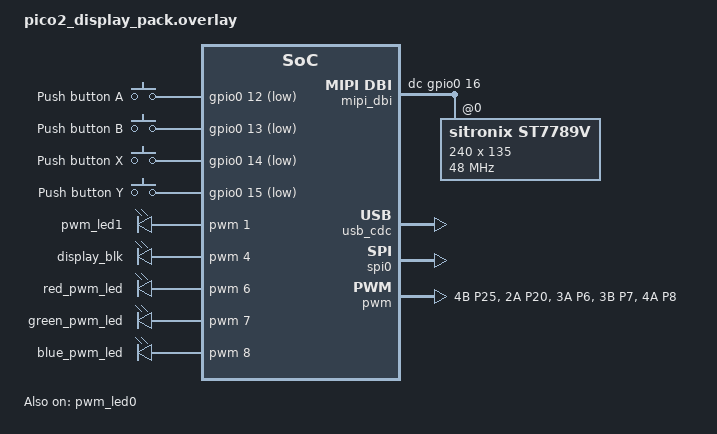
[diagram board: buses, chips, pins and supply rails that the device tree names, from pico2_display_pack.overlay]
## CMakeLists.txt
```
# SPDX-License-Identifier: Apache-2.0

cmake_minimum_required(VERSION 3.20.0)

string(REGEX MATCH "^[^/]+" BOARD_NAME "${BOARD}")
if(BOARD_NAME STREQUAL "rpi_pico2")
    message(STATUS "Compiling for RPI_PICO2")
elseif(BOARD_NAME STREQUAL "rpi_pico")
    message(STATUS "Compiling for RPI_PICO")
endif()

if(CONFIG_PICO_DISPLAY_PACK AND BOARD_NAME STREQUAL "rpi_pico")
  set(DTC_OVERLAY_FILE "boards/rpi_pico/pico_display_pack.overlay")
elseif(CONFIG_PICO_DISPLAY_PACK2 AND BOARD_NAME STREQUAL "rpi_pico")
  set(DTC_OVERLAY_FILE "boards/rpi_pico/pico_display_pack2.overlay")
elseif(CONFIG_PICO_DISPLAY_PACK AND BOARD_NAME STREQUAL "rpi_pico2")
  set(DTC_OVERLAY_FILE "boards/rpi_pico2/pico_display_pack.overlay")
elseif(CONFIG_PICO_DISPLAY_PACK2 AND BOARD_NAME STREQUAL "rpi_pico2")
  set(DTC_OVERLAY_FILE "boards/rpi_pico2/pico_display_pack2.overlay")
endif()

find_package(Zephyr REQUIRED HINTS $ENV{ZEPHYR_BASE})
project(zpsu-mon)

add_compile_definitions(LV_LVGL_H_INCLUDE_SIMPLE)

include_directories(
  ${PROJECT_SOURCE_DIR}/src
  ${PROJECT_SOURCE_DIR}/src/ui
  )

set(app_SRCS
  ${PROJECT_SOURCE_DIR}/src/led.c
  ${PROJECT_SOURCE_DIR}/src/ui/watchface_ui.c
  ${PROJECT_SOURCE_DIR}/src/ui/screens/ui_Screen1.c
  ${PROJECT_SOURCE_DIR}/src/ui/ui_helpers.c
  ${PROJECT_SOURCE_DIR}/src/ui/ui.c
  ${PROJECT_SOURCE_DIR}/src/ui/fonts/ui_font_DSEG7ClassicBold36.c
  ${PROJECT_SOURCE_DIR}/src/watchface_app.c
  ${PROJECT_SOURCE_DIR}/src/psu_ctrl.c
  ${PROJECT_SOURCE_DIR}/src/clock.c
  ${PROJECT_SOURCE_DIR}/src/notification_manager.c
  ${PROJECT_SOURCE_DIR}/src/main.c
  ${PROJECT_SOURCE_DIR}/src/display_control.c
  )

target_sources(app PRIVATE ${app_SRCS})

# add_subdirectory(src/ui)
```

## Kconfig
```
# Display drivers

# Copyright (c) 2017 Intel Corporation
# SPDX-License-Identifier: Apache-2.0

menu "Zephyr Kernel"
    source "Kconfig.zephyr"
endmenu

menu "ZSPSUMon"

    config PICO_DISPLAY_PACK
        bool
    prompt "Pico Display Pack"
    default n

    config PICO_DISPLAY_PACK2
        bool
    prompt "Pico Display Pack2"
    default n

endmenu
```

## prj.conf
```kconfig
# CONFIG_LV_Z_MEM_POOL_NUMBER_BLOCKS=8
CONFIG_MAIN_STACK_SIZE=2048
CONFIG_SYSTEM_WORKQUEUE_STACK_SIZE=10000
CONFIG_HEAP_MEM_POOL_SIZE=33000
CONFIG_CBPRINTF_FP_SUPPORT=y
CONFIG_DEBUG_THREAD_INFO=y

CONFIG_COMMON_LIBC_MALLOC_ARENA_SIZE=6144

CONFIG_ASSERT=y
CONFIG_REBOOT=y
# CONFIG_RESET_ON_FATAL_ERROR=y
CONFIG_DISPLAY=y
CONFIG_DISPLAY_LOG_LEVEL_ERR=y

CONFIG_I2C=y
CONFIG_SENSOR=y
CONFIG_ADC=y
CONFIG_BMI270=n
CONFIG_LIS2MDL=y
CONFIG_BME680=y

CONFIG_SENSOR_LOG_LEVEL_DBG=y

CONFIG_MAX30101=y
CONFIG_MAX30101_MULTI_LED_MODE=y
CONFIG_MAX30101_SLOT1=1
CONFIG_MAX30101_SLOT2=2
CONFIG_MAX30101_SLOT3=3
CONFIG_MAX30101_SLOT4=0

CONFIG_PINCTRL=y
CONFIG_PM_DEVICE=y

CONFIG_PWM=y

CONFIG_SPI=y
CONFIG_ST7789V=y
# CONFIG_ST7789V_RGB565=y
# CONFIG_GC9A01=y
# CONFIG_KSCAN_CST816S=y
# CONFIG_KSCAN_CST816S_INTERRUPT=y
# CONFIG_KSCAN=y
# CONFIG_LV_Z_POINTER_KSCAN=y
# CONFIG_LV_Z_POINTER_KSCAN_SWAP_XY=y
# CONFIG_LV_Z_POINTER_KSCAN_INVERT_X=y
CONFIG_REGULATOR=y
CONFIG_REGULATOR_FIXED=y

CONFIG_INPUT=y
CONFIG_INPUT_EVENT_DUMP=y

# LVGL configuration
CONFIG_LVGL=y
CONFIG_LV_Z_FLUSH_THREAD=y
CONFIG_LV_Z_FLUSH_THREAD_PRIORITY=0
CONFIG_LV_FONT_MONTSERRAT_8=y
CONFIG_LV_FONT_MONTSERRAT_10=y
CONFIG_LV_FONT_MONTSERRAT_12=y
CONFIG_LV_FONT_MONTSERRAT_14=y
CONFIG_LV_FONT_MONTSERRAT_16=y
CONFIG_LV_FONT_MONTSERRAT_18=y
CONFIG_LV_FONT_MONTSERRAT_20=y
CONFIG_LV_FONT_MONTSERRAT_28=y
CONFIG_LV_Z_POINTER_INPUT_MSGQ_COUNT=200
CONFIG_LV_Z_POINTER_INPUT=y

CONFIG_LV_CACHE_DEF_SIZE=10
CONFIG_LV_IMAGE_HEADER_CACHE_DEF_CNT=10
CONFIG_LV_USE_CUSTOM_SPRINTF=y
CONFIG_LV_Z_DOUBLE_VDB=y
CONFIG_LV_Z_VDB_SIZE=10
CONFIG_LV_DEF_REFR_PERIOD=30

CONFIG_LV_THEME_DEFAULT_DARK=y
CONFIG_LV_USE_THEME_DEFAULT=y

CONFIG_LV_COLOR_16_SWAP=y
CONFIG_LV_COLOR_DEPTH_16=y

# LVGL Size optimizations
CONFIG_LV_CONF_MINIMAL=y
CONFIG_LV_LABEL_TEXT_SELECTION=n
CONFIG_LV_LABEL_LONG_TXT_HINT=n
CONFIG_LV_USE_LOG=y
CONFIG_LV_USE_DROPDOWN=y
CONFIG_LV_USE_LINE=y
CONFIG_LV_USE_SLIDER=y
CONFIG_LV_USE_SWITCH=y
CONFIG_LV_USE_FLEX=y
CONFIG_LV_USE_ANIMIMG=y
CONFIG_LV_USE_CHART=y
CONFIG_LV_USE_LED=y
CONFIG_LV_USE_MENU=y
CONFIG_LV_USE_MSGBOX=y
CONFIG_LV_USE_SPINNER=y
CONFIG_LV_USE_TILEVIEW=y
CONFIG_LV_USE_GIF=y
CONFIG_LV_USE_LABEL=y
CONFIG_LV_USE_IMAGE=y
CONFIG_LV_USE_ARC=y
CONFIG_LV_USE_BUTTON=y
CONFIG_LV_USE_BUTTONMATRIX=y
CONFIG_LV_USE_IMAGEBUTTON=y
CONFIG_LV_USE_CHECKBOX=y
CONFIG_LV_USE_SCALE=y
CONFIG_LV_USE_ASSERT_NULL=y
CONFIG_LV_USE_ASSERT_MALLOC=y
CONFIG_LV_FONT_DEFAULT_MONTSERRAT_14=y
CONFIG_LV_WIDGETS_HAS_DEFAULT_VALUE=y
CONFIG_LV_TXT_ENC_UTF8=y

CONFIG_LV_DRAW_SW_SUPPORT_RGB565=y
CONFIG_LV_DRAW_SW_SUPPORT_RGB565A8=y
CONFIG_LV_DRAW_SW_SUPPORT_RGB888=n
CONFIG_LV_DRAW_SW_SUPPORT_XRGB8888=n
CONFIG_LV_DRAW_SW_SUPPORT_ARGB8888=n
CONFIG_LV_DRAW_SW_SUPPORT_L8=n
CONFIG_LV_DRAW_SW_SUPPORT_AL88=n
CONFIG_LV_DRAW_SW_SUPPORT_A8=n
CONFIG_LV_DRAW_SW_SUPPORT_I1=n

#
# Memory settings
#
CONFIG_LV_Z_MEM_POOL_SIZE=95000
# end of Memory settings

# NVS
CONFIG_FLASH=y
CONFIG_FLASH_MAP=y
CONFIG_MPU_ALLOW_FLASH_WRITE=y
CONFIG_FLASH_PAGE_LAYOUT=y

CONFIG_DISK_ACCESS=y

# Filesystem
CONFIG_FILE_SYSTEM=y
CONFIG_DISK_ACCESS=y
CONFIG_FAT_FILESYSTEM_ELM=y
CONFIG_FS_FATFS_LFN=y
CONFIG_FS_FATFS_MAX_LFN=255
CONFIG_FS_FATFS_CUSTOM_MOUNT_POINT_COUNT=2
CONFIG_SETTINGS=y
CONFIG_SETTINGS_FILE=y
CONFIG_SETTINGS_RUNTIME=y
CONFIG_SETTINGS_NVS=y
CONFIG_NVS=n

# Bluetooth
# CONFIG_BT=y
# CONFIG_BT_HCI=y
CONFIG_BT_CTLR=n
# Enable Direction Finding TX Feature including AoA and AoD
CONFIG_BT_DF=y
CONFIG_BT_DF_CONNECTIONLESS_CTE_TX=y
#CONFIG_BT_RX_STACK_SIZE=2048
# Enable chaining of multiple CTEs in periodic advertising
# CONFIG_BT_DEBUG_LOG=n
#CONFIG_BT_SMP=y
CONFIG_BT_PERIPHERAL=y
CONFIG_BT_DIS=y
CONFIG_BT_DIS_PNP=n
CONFIG_BT_BAS=n
CONFIG_BT_HRS=n
CONFIG_BT_DEVICE_NAME="Smart Watch"
CONFIG_BT_DEVICE_APPEARANCE=194
CONFIG_BT_KEYS_OVERWRITE_OLDEST=y
CONFIG_BT_SETTINGS=n
CONFIG_BT_MAX_PAIRED=1
CONFIG_BT_MAX_CONN=1

CONFIG_BT_GATT_CLIENT=y

CONFIG_BT_EXT_ADV=y
CONFIG_BT_PER_ADV=y

CONFIG_BT_BROADCASTER=y
CONFIG_BT_SMP_ALLOW_UNAUTH_OVERWRITE=y
#CONFIG_BT_CONN_PARAM_UPDATE_TIMEOUT=
CONFIG_BT_EXT_ADV_MAX_ADV_SET=2
CONFIG_BT_BUF_ACL_RX_SIZE=100
CONFIG_BT_BUF_ACL_TX_SIZE=100
CONFIG_BT_L2CAP_TX_MTU=96

 # Allows to do some basic UI tasks in BT callbacks.
CONFIG_BT_RX_STACK_SIZE=3000

# SEGGER RTT logging instead of UART
CONFIG_LOG_PRINTK=y
CONFIG_LOG=y
CONFIG_LOG_MODE_IMMEDIATE=y
CONFIG_DEBUG_OPTIMIZATIONS=y
CONFIG_USE_SEGGER_RTT=y
CONFIG_LOG_BACKEND_RTT=y
CONFIG_LOG_BACKEND_RTT_MODE_BLOCK=y
# End of SEGGER RTT

CONFIG_PICOLIBC=y
CONFIG_PICOLIBC_IO_FLOAT=y
CONFIG_POSIX_API=y

CONFIG_CLOCK_CONTROL_NRF_K32SRC_RC=y

CONFIG_PM=y

# Size optimizations
#CONFIG_SIZE_OPTIMIZATIONS=y
# CONFIG_THREAD_STACK_INFO=n
CONFIG_WATCHDOG=n
CONFIG_SERIAL=y
CONFIG_CONSOLE=y
CONFIG_PRINTK=y
CONFIG_USB_DEVICE_STACK=y
CONFIG_USB_DEVICE_INITIALIZE_AT_BOOT=y
CONFIG_USB_DEVICE_VID=0x2e8a
CONFIG_USB_DEVICE_PID=0x000a
CONFIG_USB_DEVICE_PRODUCT="Pico"
CONFIG_USB_DEVICE_MANUFACTURER="Raspberry Pi"
CONFIG_UART_INTERRUPT_DRIVEN=y
CONFIG_UART_LINE_CTRL=y

CONFIG_ZBUS=y
# CONFIG_ZBUS_RUNTIME_OBSERVERS_POOL_SIZE=2
CONFIG_ZBUS_LOG_LEVEL_INF=y
CONFIG_ZBUS_CHANNEL_NAME=y
CONFIG_ZBUS_OBSERVER_NAME=y

CONFIG_LED=y

# CONFIG_I2C_LOG_LEVEL_DBG=y

CONFIG_ENTROPY_GENERATOR=y
CONFIG_ENTROPY_DEVICE_RANDOM_GENERATOR=y
```

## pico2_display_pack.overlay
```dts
/*
 * Copyright (c) 2019 Creative Product Design
 *
 * SPDX-License-Identifier: Apache-2.0
 */
#include <zephyr/dt-bindings/pinctrl/rpi-pico-rp2350a-pinctrl.h>
#include <zephyr/dt-bindings/mipi_dbi/mipi_dbi.h>
#include <zephyr/dt-bindings/input/input-event-codes.h>
/ {
    chosen {
           zephyr,console = &usb_cdc;
	   zephyr,shell-uart = &usb_cdc;
	   zephyr,display = &st7789v;
	};

    keys: keys {
        compatible = "gpio-keys";
        button0: button_A {
            gpios = <&gpio0 12 (GPIO_PULL_UP | GPIO_ACTIVE_LOW)>;
            label = "Push button A";
	    zephyr,code = <INPUT_KEY_1>;
        };
        button1: button_B {
            gpios = <&gpio0 13 (GPIO_PULL_UP | GPIO_ACTIVE_LOW)>;
            label = "Push button B";
	    zephyr,code = <INPUT_KEY_2>;
        };
        button2: button_X {
            gpios = <&gpio0 14 (GPIO_PULL_UP | GPIO_ACTIVE_LOW)>;
            label = "Push button X";
	    zephyr,code = <INPUT_KEY_3>;
        };
        button3: button_Y {
            gpios = <&gpio0 15 (GPIO_PULL_UP | GPIO_ACTIVE_LOW)>;
            label = "Push button Y";
	    zephyr,code = <INPUT_KEY_4>;
        };
    };

    lvgl_button_input: lvgl_button_input {
	compatible = "zephyr,lvgl-button-input";
	input = <&keys>;
	input-codes = <INPUT_KEY_1 INPUT_KEY_2 INPUT_KEY_3 INPUT_KEY_4>;
	coordinates = <216 10>, <10 10>, <231 10>, <10 10>;
    };

    pwm_leds {
        compatible = "pwm-leds";
        status = "okay";
        pwm_led1: pwm_led_1 {
	    pwms = <&pwm 1 PWM_MSEC(20) PWM_POLARITY_NORMAL>; /* Pico Display Pack backlight */
        };

        display_blk: pwm_led_0 {
	    pwms = <&pwm 4 PWM_MSEC(20) PWM_POLARITY_NORMAL>; /* Pico Display Pack backlight */
        };

        red_pwm_led: red_pwm_led {
	    pwms = <&pwm 6 PWM_MSEC(20) PWM_POLARITY_INVERTED>;
        };
        green_pwm_led: green_pwm_led {
	    pwms = <&pwm 7 PWM_MSEC(20) PWM_POLARITY_INVERTED>;
        };
        blue_pwm_led: blue_pwm_led {
	    pwms = <&pwm 8 PWM_MSEC(20) PWM_POLARITY_INVERTED>;
        };
    };

    aliases {
        display-blk = &display_blk;
        sw0 = &button0;
        sw1 = &button1;
        sw2 = &button2;
        sw3 = &button3;
        sw-top-right = &button2;
        sw-top-left = &button0;
        sw-bottom-right = &button3;
        sw-bottom-left = &button1;
        pwm-led1 = &pwm_led1;
	red-pwm-led = &red_pwm_led;
	green-pwm-led = &green_pwm_led;
	blue-pwm-led = &blue_pwm_led;
    };

    mipi_dbi {
        compatible = "zephyr,mipi-dbi-spi";
	status = "okay";
	dc-gpios = <&gpio0 16 GPIO_ACTIVE_HIGH>;	/* DET */
	/* reset-gpios = <&gpio0 25 GPIO_ACTIVE_LOW>; */	/* RESX reset */

        spi-dev = <&spi0>;
	write-only;
        #address-cells = <1>;
        #size-cells = <0>;

	/* Pico Display Pack */
	st7789v: st7789v@0 {
		compatible = "sitronix,st7789v";
		reg = <0>;
		mipi-max-frequency = <DT_FREQ_M(48)>;
		width = <240>;
		height = <135>;
		x-offset = <40>;
		y-offset = <53>;
		vcom = <0x3D>;
		gctrl = <0x75>;
		vrhs = <0x00>;
		vdvs = <0x20>;
		mdac = <0x70>;
		gamma = <0x03>;
		colmod = <0x05>;
		lcm = <0x2c>;
		porch-param = [0c 0c 00 33 33];
		cmd2en-param = [5a 69 02 01];
		pwctrl1-param = [a4 a1];
                pvgam-param = [70 04 08 09 09 05 2A 33 41 07 13 13 29 2f];
                nvgam-param = [70 03 09 0A 09 06 2B 34 41 07 12 14 28 2E];
		ram-param = [00 F0];
		rgb-param = [CD 08 14];
                mipi-mode = "MIPI_DBI_MODE_SPI_4WIRE";
	};
     };
};

&pinctrl {
	pwm_default: pwm_default {
		group1 {
			pinmux = <PWM_4B_P25>, <PWM_2A_P20>, <PWM_3A_P6>, <PWM_3B_P7>, <PWM_4A_P8>;
			drive-strength = <2>;
			slew-rate = <1>;
			bias-pull-up;
		};
	};
};

&zephyr_udc0 {
	usb_cdc: usb_cdc_0 {
		compatible = "zephyr,cdc-acm-uart";
	};
};

&spi0 {
	status = "okay";
};

&pwm_led0 {
	status = "okay";
};

&pwm_led1 {
	status = "okay";
};

&pwm {

	pinctrl-0 = <&pwm_default>;
	pinctrl-names = "default";
	status = "okay";

	divider-frac-2 = <15>;
	divider-int-2 = <255>;

	divider-frac-3 = <15>;
	divider-int-3 = <255>;

	divider-frac-4 = <15>;
	divider-int-4 = <255>;
};
```

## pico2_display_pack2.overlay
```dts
/*
 * Copyright (c) 2019 Creative Product Design
 *
 * SPDX-License-Identifier: Apache-2.0
 */
#include <zephyr/dt-bindings/pinctrl/rpi-pico-rp2350a-pinctrl.h>
#include <zephyr/dt-bindings/mipi_dbi/mipi_dbi.h>
#include <zephyr/dt-bindings/input/input-event-codes.h>
/ {
    chosen {
	   zephyr,console = &usb_cdc;
	   zephyr,shell-uart = &usb_cdc;
	   zephyr,display = &st7789v;
	};

    keys: keys {
        compatible = "gpio-keys";
        button0: button_A {
            gpios = <&gpio0 12 (GPIO_PULL_UP | GPIO_ACTIVE_LOW)>;
            label = "Push button A";
	    zephyr,code = <INPUT_KEY_1>;
        };
        button1: button_B {
            gpios = <&gpio0 13 (GPIO_PULL_UP | GPIO_ACTIVE_LOW)>;
            label = "Push button B";
	    zephyr,code = <INPUT_KEY_2>;
        };
        button2: button_X {
            gpios = <&gpio0 14 (GPIO_PULL_UP | GPIO_ACTIVE_LOW)>;
            label = "Push button X";
	    zephyr,code = <INPUT_KEY_3>;
        };
        button3: button_Y {
            gpios = <&gpio0 15 (GPIO_PULL_UP | GPIO_ACTIVE_LOW)>;
            label = "Push button Y";
	    zephyr,code = <INPUT_KEY_4>;
        };
    };

    lvgl_button_input: lvgl_button_input {
	compatible = "zephyr,lvgl-button-input";
	input = <&keys>;
	input-codes = <INPUT_KEY_1 INPUT_KEY_2 INPUT_KEY_3 INPUT_KEY_4>;
	coordinates = <288 9>, <10 10>, <307 9>, <10 10>;
    };

    pwm_leds {
        compatible = "pwm-leds";
        status = "okay";
        pwm_led1: pwm_led_1 {
	    pwms = <&pwm 1 PWM_MSEC(20) PWM_POLARITY_NORMAL>; /* Pico Display Pack backlight */
        };

        display_blk: pwm_led_0 {
	    pwms = <&pwm 4 PWM_MSEC(20) PWM_POLARITY_NORMAL>; /* Pico Display Pack backlight */
        };

        red_pwm_led: red_pwm_led {
	    pwms = <&pwm 6 PWM_MSEC(20) PWM_POLARITY_INVERTED>;
        };
        green_pwm_led: green_pwm_led {
	    pwms = <&pwm 7 PWM_MSEC(20) PWM_POLARITY_INVERTED>;
        };
        blue_pwm_led: blue_pwm_led {
	    pwms = <&pwm 8 PWM_MSEC(20) PWM_POLARITY_INVERTED>;
        };
    };

    aliases {
        display-blk = &display_blk;
        sw0 = &button0;
        sw1 = &button1;
        sw2 = &button2;
        sw3 = &button3;
        sw-top-right = &button2;
        sw-top-left = &button0;
        sw-bottom-right = &button3;
        sw-bottom-left = &button1;
        pwm-led1 = &pwm_led1;
	red-pwm-led = &red_pwm_led;
	green-pwm-led = &green_pwm_led;
	blue-pwm-led = &blue_pwm_led;
    };

    mipi_dbi {
        compatible = "zephyr,mipi-dbi-spi";
	status = "okay";
	dc-gpios = <&gpio0 16 GPIO_ACTIVE_HIGH>;	/* DET */
	/* reset-gpios = <&gpio0 25 GPIO_ACTIVE_LOW>; */	/* RESX reset */

        spi-dev = <&spi0>;
	write-only;
        #address-cells = <1>;
        #size-cells = <0>;

	/* Pico Display Pack2 */
	st7789v: st7789v@0 {
		compatible = "sitronix,st7789v";
		reg = <0>;
		mipi-max-frequency = <DT_FREQ_M(48)>;
		width = <320>;
		height = <240>;
		x-offset = <0>;
		y-offset = <0>;
		vcom = <0x1f>;   /* VCOMS Setting: 0.875V */
		gctrl = <0x35>;  /* VGH: 13.26V VGL: -10.43V */
		vrhs = <0x12>;
		vdvs = <0x20>;
		mdac = <0x70>;  /* Rotate 270 */
		gamma = <0x03>;
		colmod = <0x05>; /* 16 bit/pixel */
		lcm = <0x2c>;
		porch-param = [0c 0c 00 33 33];
		cmd2en-param = [5a 69 02 01];
		pwctrl1-param = [a4 a1];
		pvgam-param = [D0 08 11 08 0C 15 39 33 50 36 13 14 29 2D];
		nvgam-param = [D0 08 10 08 06 06 39 44 51 0B 16 14 2F 31];
		ram-param = [00 F0];
		rgb-param = [CD 08 14];
                mipi-mode = "MIPI_DBI_MODE_SPI_4WIRE";
	};
     };
};

&pinctrl {
	pwm_default: pwm_default {
		group1 {
			pinmux = <PWM_4B_P25>, <PWM_2A_P20>, <PWM_3A_P6>, <PWM_3B_P7>, <PWM_4A_P8>;
			drive-strength = <2>;
			slew-rate = <1>;
			bias-pull-up;
		};
	};
};

&zephyr_udc0 {
	usb_cdc: usb_cdc_0 {
		compatible = "zephyr,cdc-acm-uart";
	};
};

&spi0 {
	status = "okay";
};

&pwm_led0 {
	status = "okay";
};

&pwm_led1 {
	status = "okay";
};

&pwm {

	pinctrl-0 = <&pwm_default>;
	pinctrl-names = "default";
	status = "okay";

	divider-frac-2 = <15>;
	divider-int-2 = <255>;

	divider-frac-3 = <15>;
	divider-int-3 = <255>;

	divider-frac-4 = <15>;
	divider-int-4 = <255>;
};
```

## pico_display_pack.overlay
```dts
/*
 * Copyright (c) 2019 Creative Product Design
 *
 * SPDX-License-Identifier: Apache-2.0
 */
#include <zephyr/dt-bindings/pinctrl/rpi-pico-rp2040-pinctrl.h>
#include <zephyr/dt-bindings/mipi_dbi/mipi_dbi.h>
#include <zephyr/dt-bindings/input/input-event-codes.h>
/ {
    chosen {
           zephyr,console = &usb_cdc;
	   zephyr,shell-uart = &usb_cdc;
	   zephyr,display = &st7789v;
	};

    keys: keys {
        compatible = "gpio-keys";
        button0: button_A {
            gpios = <&gpio0 12 (GPIO_PULL_UP | GPIO_ACTIVE_LOW)>;
            label = "Push button A";
	    zephyr,code = <INPUT_KEY_1>;
        };
        button1: button_B {
            gpios = <&gpio0 13 (GPIO_PULL_UP | GPIO_ACTIVE_LOW)>;
            label = "Push button B";
	    zephyr,code = <INPUT_KEY_2>;
        };
        button2: button_X {
            gpios = <&gpio0 14 (GPIO_PULL_UP | GPIO_ACTIVE_LOW)>;
            label = "Push button X";
	    zephyr,code = <INPUT_KEY_3>;
        };
        button3: button_Y {
            gpios = <&gpio0 15 (GPIO_PULL_UP | GPIO_ACTIVE_LOW)>;
            label = "Push button Y";
	    zephyr,code = <INPUT_KEY_4>;
        };
    };

    lvgl_button_input: lvgl_button_input {
	compatible = "zephyr,lvgl-button-input";
	input = <&keys>;
	input-codes = <INPUT_KEY_1 INPUT_KEY_2 INPUT_KEY_3 INPUT_KEY_4>;
	coordinates = <216 10>, <10 10>, <231 10>, <10 10>;
    };

    pwm_leds {
        compatible = "pwm-leds";
        status = "okay";
        pwm_led1: pwm_led_1 {
	    pwms = <&pwm 1 PWM_MSEC(20) PWM_POLARITY_NORMAL>; /* Pico Display Pack backlight */
        };

        display_blk: pwm_led_0 {
	    pwms = <&pwm 4 PWM_MSEC(20) PWM_POLARITY_NORMAL>; /* Pico Display Pack backlight */
        };

        red_pwm_led: red_pwm_led {
	    pwms = <&pwm 6 PWM_MSEC(20) PWM_POLARITY_INVERTED>;
        };
        green_pwm_led: green_pwm_led {
	    pwms = <&pwm 7 PWM_MSEC(20) PWM_POLARITY_INVERTED>;
        };
        blue_pwm_led: blue_pwm_led {
	    pwms = <&pwm 8 PWM_MSEC(20) PWM_POLARITY_INVERTED>;
        };
    };

    aliases {
        display-blk = &display_blk;
        sw0 = &button0;
        sw1 = &button1;
        sw2 = &button2;
        sw3 = &button3;
        sw-top-right = &button2;
        sw-top-left = &button0;
        sw-bottom-right = &button3;
        sw-bottom-left = &button1;
        pwm-led1 = &pwm_led1;
	red-pwm-led = &red_pwm_led;
	green-pwm-led = &green_pwm_led;
	blue-pwm-led = &blue_pwm_led;
    };

    mipi_dbi {
        compatible = "zephyr,mipi-dbi-spi";
	status = "okay";
	dc-gpios = <&gpio0 16 GPIO_ACTIVE_HIGH>;	/* DET */
	/* reset-gpios = <&gpio0 25 GPIO_ACTIVE_LOW>; */	/* RESX reset */

        spi-dev = <&spi0>;
	write-only;
        #address-cells = <1>;
        #size-cells = <0>;

	/* Pico Display Pack */
	st7789v: st7789v@0 {
		compatible = "sitronix,st7789v";
		reg = <0>;
		mipi-max-frequency = <DT_FREQ_M(48)>;
		width = <240>;
		height = <135>;
		x-offset = <40>;
		y-offset = <53>;
		vcom = <0x3D>;
		gctrl = <0x75>;
		vrhs = <0x00>;
		vdvs = <0x20>;
		mdac = <0x70>;
		gamma = <0x03>;
		colmod = <0x05>;
		lcm = <0x2c>;
		porch-param = [0c 0c 00 33 33];
		cmd2en-param = [5a 69 02 01];
		pwctrl1-param = [a4 a1];
                pvgam-param = [70 04 08 09 09 05 2A 33 41 07 13 13 29 2f];
                nvgam-param = [70 03 09 0A 09 06 2B 34 41 07 12 14 28 2E];
		ram-param = [00 F0];
		rgb-param = [CD 08 14];
                mipi-mode = "MIPI_DBI_MODE_SPI_4WIRE";
	};
     };
};

&pinctrl {
	pwm_default: pwm_default {
		group1 {
			pinmux = <PWM_4B_P25>, <PWM_2A_P20>, <PWM_3A_P6>, <PWM_3B_P7>, <PWM_4A_P8>;
			drive-strength = <2>;
			slew-rate = <1>;
			bias-pull-up;
		};
	};
};

&zephyr_udc0 {
	usb_cdc: usb_cdc_0 {
		compatible = "zephyr,cdc-acm-uart";
	};
};

&spi0 {
	status = "okay";
};

&pwm_led0 {
	status = "okay";
};

&pwm_led1 {
	status = "okay";
};

&pwm {

	pinctrl-0 = <&pwm_default>;
	pinctrl-names = "default";
	status = "okay";

	divider-frac-2 = <15>;
	divider-int-2 = <255>;

	divider-frac-3 = <15>;
	divider-int-3 = <255>;

	divider-frac-4 = <15>;
	divider-int-4 = <255>;
};
```

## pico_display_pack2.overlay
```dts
/*
 * Copyright (c) 2019 Creative Product Design
 *
 * SPDX-License-Identifier: Apache-2.0
 */
#include <zephyr/dt-bindings/pinctrl/rpi-pico-rp2040-pinctrl.h>
#include <zephyr/dt-bindings/mipi_dbi/mipi_dbi.h>
#include <zephyr/dt-bindings/input/input-event-codes.h>
/ {
    chosen {
	   zephyr,console = &usb_cdc;
	   zephyr,shell-uart = &usb_cdc;
	   zephyr,display = &st7789v;
	};

    keys: keys {
        compatible = "gpio-keys";
        button0: button_A {
            gpios = <&gpio0 12 (GPIO_PULL_UP | GPIO_ACTIVE_LOW)>;
            label = "Push button A";
	    zephyr,code = <INPUT_KEY_1>;
        };
        button1: button_B {
            gpios = <&gpio0 13 (GPIO_PULL_UP | GPIO_ACTIVE_LOW)>;
            label = "Push button B";
	    zephyr,code = <INPUT_KEY_2>;
        };
        button2: button_X {
            gpios = <&gpio0 14 (GPIO_PULL_UP | GPIO_ACTIVE_LOW)>;
            label = "Push button X";
	    zephyr,code = <INPUT_KEY_3>;
        };
        button3: button_Y {
            gpios = <&gpio0 15 (GPIO_PULL_UP | GPIO_ACTIVE_LOW)>;
            label = "Push button Y";
	    zephyr,code = <INPUT_KEY_4>;
        };
    };

    lvgl_button_input: lvgl_button_input {
	compatible = "zephyr,lvgl-button-input";
	input = <&keys>;
	input-codes = <INPUT_KEY_1 INPUT_KEY_2 INPUT_KEY_3 INPUT_KEY_4>;
	coordinates = <288 9>, <10 10>, <307 9>, <10 10>;
    };

    pwm_leds {
        compatible = "pwm-leds";
        status = "okay";
        pwm_led1: pwm_led_1 {
	    pwms = <&pwm 1 PWM_MSEC(20) PWM_POLARITY_NORMAL>; /* Pico Display Pack backlight */
        };

        display_blk: pwm_led_0 {
	    pwms = <&pwm 4 PWM_MSEC(20) PWM_POLARITY_NORMAL>; /* Pico Display Pack backlight */
        };

        red_pwm_led: red_pwm_led {
	    pwms = <&pwm 6 PWM_MSEC(20) PWM_POLARITY_INVERTED>;
        };
        green_pwm_led: green_pwm_led {
	    pwms = <&pwm 7 PWM_MSEC(20) PWM_POLARITY_INVERTED>;
        };
        blue_pwm_led: blue_pwm_led {
	    pwms = <&pwm 8 PWM_MSEC(20) PWM_POLARITY_INVERTED>;
        };
    };

    aliases {
        display-blk = &display_blk;
        sw0 = &button0;
        sw1 = &button1;
        sw2 = &button2;
        sw3 = &button3;
        sw-top-right = &button2;
        sw-top-left = &button0;
        sw-bottom-right = &button3;
        sw-bottom-left = &button1;
        pwm-led1 = &pwm_led1;
	red-pwm-led = &red_pwm_led;
	green-pwm-led = &green_pwm_led;
	blue-pwm-led = &blue_pwm_led;
    };

    mipi_dbi {
        compatible = "zephyr,mipi-dbi-spi";
	status = "okay";
	dc-gpios = <&gpio0 16 GPIO_ACTIVE_HIGH>;	/* DET */
	/* reset-gpios = <&gpio0 25 GPIO_ACTIVE_LOW>; */	/* RESX reset */

        spi-dev = <&spi0>;
	write-only;
        #address-cells = <1>;
        #size-cells = <0>;

	/* Pico Display Pack2 */
	st7789v: st7789v@0 {
		compatible = "sitronix,st7789v";
		reg = <0>;
		mipi-max-frequency = <DT_FREQ_M(48)>;
		width = <320>;
		height = <240>;
		x-offset = <0>;
		y-offset = <0>;
		vcom = <0x1f>;   /* VCOMS Setting: 0.875V */
		gctrl = <0x35>;  /* VGH: 13.26V VGL: -10.43V */
		vrhs = <0x12>;
		vdvs = <0x20>;
		mdac = <0x70>;  /* Rotate 270 */
		gamma = <0x03>;
		colmod = <0x05>; /* 16 bit/pixel */
		lcm = <0x2c>;
		porch-param = [0c 0c 00 33 33];
		cmd2en-param = [5a 69 02 01];
		pwctrl1-param = [a4 a1];
		pvgam-param = [D0 08 11 08 0C 15 39 33 50 36 13 14 29 2D];
		nvgam-param = [D0 08 10 08 06 06 39 44 51 0B 16 14 2F 31];
		ram-param = [00 F0];
		rgb-param = [CD 08 14];
                mipi-mode = "MIPI_DBI_MODE_SPI_4WIRE";
	};
     };
};

&pinctrl {
	pwm_default: pwm_default {
		group1 {
			pinmux = <PWM_4B_P25>, <PWM_2A_P20>, <PWM_3A_P6>, <PWM_3B_P7>, <PWM_4A_P8>;
			drive-strength = <2>;
			slew-rate = <1>;
			bias-pull-up;
		};
	};
};

&zephyr_udc0 {
	usb_cdc: usb_cdc_0 {
		compatible = "zephyr,cdc-acm-uart";
	};
};

&spi0 {
	status = "okay";
};

&pwm_led0 {
	status = "okay";
};

&pwm_led1 {
	status = "okay";
};

&pwm {

	pinctrl-0 = <&pwm_default>;
	pinctrl-names = "default";
	status = "okay";

	divider-frac-2 = <15>;
	divider-int-2 = <255>;

	divider-frac-3 = <15>;
	divider-int-3 = <255>;

	divider-frac-4 = <15>;
	divider-int-4 = <255>;
};
```

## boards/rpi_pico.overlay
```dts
/*
 * Copyright (c) 2019 Creative Product Design
 *
 * SPDX-License-Identifier: Apache-2.0
 */
#include <zephyr/dt-bindings/pinctrl/rpi-pico-rp2040-pinctrl.h>
/ {
    chosen {
	   zephyr,console = &usb_cdc;
	   zephyr,shell-uart = &usb_cdc;
	   zephyr,display = &st7789v;
	};

    buttons {
        compatible = "gpio-keys";
        button0: button_A {
            gpios = <&gpio0 12 (GPIO_PULL_UP | GPIO_ACTIVE_LOW)>;
            label = "Push button A";
        };
        button1: button_B {
            gpios = <&gpio0 13 (GPIO_PULL_UP | GPIO_ACTIVE_LOW)>;
            label = "Push button B";
        };
        button2: button_X {
            gpios = <&gpio0 14 (GPIO_PULL_UP | GPIO_ACTIVE_LOW)>;
            label = "Push button X";
        };
        button3: button_Y {
            gpios = <&gpio0 15 (GPIO_PULL_UP | GPIO_ACTIVE_LOW)>;
            label = "Push button Y";
        };
    };

    pwm_leds {
        compatible = "pwm-leds";
        status = "okay";
        pwm_led1: pwm_led_1 {
	    pwms = <&pwm 1 PWM_MSEC(20) PWM_POLARITY_NORMAL>; /* Pico Display Pack backlight */
        };

        display_blk: pwm_led_0 {
	    pwms = <&pwm 4 PWM_MSEC(20) PWM_POLARITY_NORMAL>; /* Pico Display Pack backlight */
        };

        red_pwm_led: red_pwm_led {
	    pwms = <&pwm 6 PWM_MSEC(20) PWM_POLARITY_INVERTED>;
        };
        green_pwm_led: green_pwm_led {
	    pwms = <&pwm 7 PWM_MSEC(20) PWM_POLARITY_INVERTED>;
        };
        blue_pwm_led: blue_pwm_led {
	    pwms = <&pwm 8 PWM_MSEC(20) PWM_POLARITY_INVERTED>;
        };
    };

    aliases {
        display-blk = &display_blk;
        sw0 = &button0;
        sw1 = &button1;
        sw2 = &button2;
        sw3 = &button3;
        sw-top-right = &button2;
        sw-top-left = &button0;
        sw-bottom-right = &button3;
        sw-bottom-left = &button1;
        pwm-led1 = &pwm_led1;
	red-pwm-led = &red_pwm_led;
	green-pwm-led = &green_pwm_led;
	blue-pwm-led = &blue_pwm_led;
    };
};

&pinctrl {
	pwm_default: pwm_default {
		group1 {
			pinmux = <PWM_4B_P25>, <PWM_2A_P20>, <PWM_3A_P6>, <PWM_3B_P7>, <PWM_4A_P8>;
			drive-strength = <2>;
			slew-rate = <1>;
			bias-pull-up;
		};
	};
};

&spi0 {
	status = "okay";
	cs-gpios = <&gpio0 17 GPIO_ACTIVE_LOW>;
	pinctrl-0 = <&spi0_default>;
	pinctrl-names = "default";

	/* Pico Display Pack */
	st7789v: st7789v@0 {
		compatible = "sitronix,st7789v";
		reg = <0>;
		spi-max-frequency = <20000000>; /* 20MHz */
		cmd-data-gpios = <&gpio0 16 GPIO_ACTIVE_LOW>;	/* DET */
		/* reset-gpios = <&gpio0 25 GPIO_ACTIVE_LOW>; */	/* RESX reset */
		width = <240>;
		height = <135>;
		x-offset = <40>;
		y-offset = <53>;
		vcom = <0x19>;
		gctrl = <0x35>;
		vrhs = <0x12>;
		vdvs = <0x20>;
		mdac = <0x70>;
		gamma = <0x03>;
		colmod = <0x05>;
		lcm = <0x2c>;
		porch-param = [0c 0c 00 33 33];
		cmd2en-param = [5a 69 02 01];
		pwctrl1-param = [a4 a1];
		pvgam-param = [D0 04 0D 11 13 2B 3F 54 4C 18 0D 0B 1F 23];
		nvgam-param = [D0 04 0C 11 13 2C 3F 44 51 2F 1F 1F 20 23];
		ram-param = [00 F0];
		rgb-param = [CD 08 14];

	};
};

&zephyr_udc0 {
	usb_cdc: usb_cdc_0 {
		compatible = "zephyr,cdc-acm-uart";
	};
};

&pwm_led0 {
	status = "okay";
};

&pwm_led1 {
	status = "okay";
};

&pwm {

	pinctrl-0 = <&pwm_default>;
	pinctrl-names = "default";
	status = "okay";

	divider-frac-2 = <15>;
	divider-int-2 = <255>;

	divider-frac-3 = <15>;
	divider-int-3 = <255>;

	divider-frac-4 = <15>;
	divider-int-4 = <255>;
};
```

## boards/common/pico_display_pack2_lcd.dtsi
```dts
/ {
    mipi_dbi {
        compatible = "zephyr,mipi-dbi-spi";
	status = "okay";
	dc-gpios = <&gpio0 16 GPIO_ACTIVE_HIGH>;	/* DET */
	/* reset-gpios = <&gpio0 25 GPIO_ACTIVE_LOW>; */	/* RESX reset */

        spi-dev = <&spi0>;
	write-only;
        #address-cells = <1>;
        #size-cells = <0>;

	/* Pico Display Pack2 */
	st7789v: st7789v@0 {
		compatible = "sitronix,st7789v";
		reg = <0>;
		mipi-max-frequency = <DT_FREQ_M(48)>;
		width = <320>;
		height = <240>;
		x-offset = <0>;
		y-offset = <0>;
		vcom = <0x1f>;   /* VCOMS Setting: 0.875V */
		gctrl = <0x35>;  /* VGH: 13.26V VGL: -10.43V */
		vrhs = <0x12>;
		vdvs = <0x20>;
		mdac = <0x70>;  /* Rotate 270 */
		gamma = <0x03>;
		colmod = <0x05>; /* 16 bit/pixel */
		lcm = <0x2c>;
		porch-param = [0c 0c 00 33 33];
		cmd2en-param = [5a 69 02 01];
		pwctrl1-param = [a4 a1];
		pvgam-param = [D0 08 11 08 0C 15 39 33 50 36 13 14 29 2D];
		nvgam-param = [D0 08 10 08 06 06 39 44 51 0B 16 14 2F 31];
		ram-param = [00 F0];
		rgb-param = [CD 08 14];
                mipi-mode = "MIPI_DBI_MODE_SPI_4WIRE";
	};
     };
};
```

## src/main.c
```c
#include <zephyr/device.h>
#include <zephyr/devicetree.h>
#include <zephyr/drivers/display.h>
#include <zephyr/drivers/gpio.h>
#include <zephyr/drivers/i2c.h>
#include <zephyr/drivers/pwm.h>
#include <zephyr/logging/log.h>
#include <zephyr/zbus/zbus.h>
#include <lvgl.h>
#include <stdio.h>
#include <string.h>
#include <zephyr/kernel.h>
#include <stdlib.h>
#include <math.h>

#include "ui.h"
#include <display_control.h>
#include "watchface_app.h"
#include "psu_ctrl.h"
#include "psu_ctrl.h"

// #define LOG_LEVEL CONFIG_LOG_DEFAULT_LEVEL
// LOG_MODULE_REGISTER(app);

LOG_MODULE_REGISTER(main, LOG_LEVEL_WRN);

#define RENDER_INTERVAL_LVGL    K_MSEC(100)

typedef enum ui_state {
        INIT_STATE,
        SETTINGS_STATE,
        WATCHFACE_STATE,
        APPLICATION_MANAGER_STATE,
        NOTIFCATION_STATE,
        NOTIFCATION_LIST_STATE,
} ui_state_t;

void run_init_work(struct k_work *item);
static int pwm_rgb_led_init(void);

static const struct pwm_dt_spec red_pwm_led = PWM_DT_SPEC_GET(DT_ALIAS(red_pwm_led));
static const struct pwm_dt_spec green_pwm_led = PWM_DT_SPEC_GET(DT_ALIAS(green_pwm_led));
static const struct pwm_dt_spec blue_pwm_led = PWM_DT_SPEC_GET(DT_ALIAS(blue_pwm_led));
static uint32_t fanRPM = 3200;
static uint8_t last_brightness = 5;

static ui_state_t watch_state = INIT_STATE;

K_WORK_DEFINE(init_work, run_init_work);

#define CONFIG_BUTTON_PSUCTRL_THREAD_PRIO 8
#define CONFIG_BUTTON_PSUCTRL_STACK_SIZE 1024

// K_THREAD_DEFINE(psuCtrlThreadId, CONFIG_BUTTON_PSUCTRL_STACK_SIZE,
//                 psuctrl_init, NULL, NULL, NULL, CONFIG_BUTTON_PSUCTRL_THREAD_PRIO, 0, K_TICKS_FOREVER);

void run_init_work(struct k_work *item)
{
        pwm_rgb_led_init();
        psuctrl_init();
        // Not to self, PWM consumes like 250uA...
        // Need to disable also when screen is off.
        display_control_init();
        display_control_power_on(true);

	static const struct device *lvgl_btn_dev;
	lvgl_btn_dev = DEVICE_DT_GET(DT_COMPAT_GET_ANY_STATUS_OKAY(zephyr_lvgl_button_input));
	if (!device_is_ready(lvgl_btn_dev))
	{
		LOG_ERR("Device not ready, aborting...");
		return 0;
	}

        watch_state = WATCHFACE_STATE;
        watchface_app_start(NULL);
        // k_thread_start(psuCtrlThreadId);
}

static int pwm_rgb_led_init(void)
{
	uint32_t pulse_red = 0, pulse_green = 0, pulse_blue = 0; /* pulse widths */
	int ret;

	printk("PWM-based RGB LED control\n");

	if (!device_is_ready(red_pwm_led.dev) ||
	    !device_is_ready(green_pwm_led.dev) ||
	    !device_is_ready(blue_pwm_led.dev)) {
		printk("Error: one or more PWM devices not ready\n");
		return 0;
	}

        // uint32_t pulse_red = red_pwm_led.period, pulse_green = green_pwm_led.period, pulse_blue = blue_pwm_led.period; /* pulse widths */
        ret = pwm_set_pulse_dt(&red_pwm_led, pulse_red);
        if (ret != 0) {
                printk("Error %d: red write failed\n", ret);
                return 0;
        }

        ret = pwm_set_pulse_dt(&green_pwm_led, pulse_green);
        if (ret != 0) {
                printk("Error %d: green write failed\n", ret);
                return 0;
        }
        ret = pwm_set_pulse_dt(&blue_pwm_led, pulse_blue);
        if (ret != 0) {
                printk("Error %d: blue write failed\n", ret);
                return 0;
        }
	return 0;
}

int main(void)
{
        // The init code requires a bit of stack.
        // So in order to not increase CONFIG_MAIN_STACK_SIZE and loose
        // this RAM forever, instead re-use the system workqueue for init
        // it has the required amount of stack.
        k_work_submit(&init_work);

        return 0;
}
```

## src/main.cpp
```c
#include <zephyr/device.h>
#include <zephyr/devicetree.h>
#include <zephyr/drivers/display.h>
#include <zephyr/drivers/gpio.h>
#include <zephyr/drivers/i2c.h>
#include <zephyr/drivers/pwm.h>
#include <zephyr/zbus/zbus.h>
#include <lvgl.h>
#include <stdio.h>
#include <string.h>
#include <zephyr/kernel.h>
#include <stdlib.h>
#include <math.h>
#include "ui.h"

#include "button_handler.h"
#include "button_assignments.h"

#define LOG_LEVEL CONFIG_LOG_DEFAULT_LEVEL
#include <zephyr/logging/log.h>
LOG_MODULE_REGISTER(app);

static const struct pwm_dt_spec pwm_led0 = PWM_DT_SPEC_GET(DT_ALIAS(pwm_led0));
static const struct pwm_dt_spec pwm_led1 = PWM_DT_SPEC_GET(DT_ALIAS(pwm_led1));


static uint32_t count;
static uint8_t brightness = 0;
static uint32_t fanRPM = 3200;

/* 1000 msec = 1 sec */
#define SLEEP_TIME_MS		1000

// The devicetree node identifier for the "led0" alias.
#define LED0_NODE DT_ALIAS(led0)

static const struct gpio_dt_spec led = GPIO_DT_SPEC_GET(LED0_NODE, gpios);

#define GPIO_BL_EN	20
static int set_backlight(uint8_t brightness);

ZBUS_CHAN_DECLARE(button_chan);
ZBUS_OBS_DECLARE(button_sub);

#define CONFIG_BUTTON_MSG_SUB_THREAD_PRIO 5
#define CONFIG_BUTTON_MSG_SUB_QUEUE_SIZE 4
#define CONFIG_BUTTON_MSG_SUB_STACK_SIZE 1024
ZBUS_SUBSCRIBER_DEFINE(button_sub, CONFIG_BUTTON_MSG_SUB_QUEUE_SIZE);
static struct k_thread button_msg_sub_thread_data;
static k_tid_t button_msg_sub_thread_id;

K_THREAD_STACK_DEFINE(button_msg_sub_thread_stack, CONFIG_BUTTON_MSG_SUB_STACK_SIZE);

class PowerSupply {
 public:
	PowerSupply(uint8_t i2cbus = 0, uint8_t address = 7) : address_(0x58 + address), EEaddress_(0x50 + address) {
		const struct device *dev = DEVICE_DT_GET(DT_NODELABEL(i2c0));
		if (!dev) {
			printf("Failed to get I2C device binding\n");
			return;
		}

		this->i2cdev_ = dev;
		this->numReg_ = 0x58 / 2;
		// this->lastReg_ = (uint16_t *)k_malloc(this->numReg_);
		// memset(this->lastReg_, 0, this->numReg_ * sizeof(uint16_t));
		// this->minReg_ = (uint16_t*) k_malloc(this->numReg_);
		// memset(this->minReg_, 0xff, this->numReg_ * sizeof(uint16_t));
		// this->maxReg_ = (uint16_t*)k_malloc(this->numReg_);
		// memset(this->maxReg_, 0, this->numReg_ * sizeof(uint16_t));

		this->lastReg_ = new uint16_t[this->numReg_];
		memset(this->lastReg_, 0, this->numReg_ * sizeof(uint16_t));
		this->minReg_ = new uint16_t[this->numReg_];
		memset(this->minReg_, 0xff, this->numReg_ * sizeof(uint16_t));
		this->maxReg_ = new uint16_t[this->numReg_];
		memset(this->maxReg_, 0, this->numReg_ * sizeof(uint16_t));

		k_mutex_init(&mutex_);

	}
	int deviceIsReady() {
		if (!device_is_ready(this->i2cdev_)) {
			printf("I2C device is not ready\n");
			return 0;
		}
		return 1;
	}

	~PowerSupply() {
		delete[] lastReg_;
		delete[] minReg_;
		delete[] maxReg_;

		// free(lastReg_);
		// free(minReg_);
		// free(maxReg_);
	}

	int readEEPROM() {
		uint8_t data[256];

		// k_mutex_lock(&this->mutex_, K_FOREVER);
		if(k_mutex_lock(&this->mutex_, K_MSEC(100))) {
			printf("i2c mutex lock failed\n");
			return -1;
		}

		if (i2c_burst_read(this->i2cdev_, this->EEaddress_, 0, data, 256)) {
			printf("Failed to read EEPROM\n");
			k_mutex_unlock(&this->mutex_);
			return -2;
		}

		k_mutex_unlock(&this->mutex_);
		printf("%02x", data[0]);
		for (int i = 1; i < 256; i++) {
			printf(" %02x", data[i]);
		}
		printf("\n");
		return 0;
	}

	int readVar(uint8_t address, uint8_t* writeInts, uint32_t writeLen, uint8_t* data, uint32_t readCount) {
		struct i2c_msg msgs[] = {
			{
				.buf = writeInts,
				.len = writeLen,
				.flags = I2C_MSG_WRITE,
			},
			{
				.buf = data,
				.len = readCount,
				.flags = I2C_MSG_READ | I2C_MSG_RESTART | I2C_MSG_STOP,
			}
		};
		// k_mutex_lock(&this->mutex_, K_FOREVER);
		if(k_mutex_lock(&this->mutex_, K_MSEC(100))) {
			printf("i2c mutex lock failed\n");
			return -1;
		}
		if (i2c_transfer(this->i2cdev_, &msgs[0], 2, address)) {
			printf("Failed to read variable\n");
			k_mutex_unlock(&this->mutex_);
			return -1;
		}

		k_mutex_unlock(&this->mutex_);

		return 0;
	}

	int writeVar(uint8_t address, uint8_t* data, uint32_t len) {
		uint8_t reg = data[0];
		uint8_t *buf = &data[1];

		// k_mutex_lock(&this->mutex_, K_FOREVER);
		if(k_mutex_lock(&this->mutex_, K_MSEC(100))) {
			printf("i2c mutex lock failed\n");
			return -1;
		}

		if (i2c_burst_write(this->i2cdev_, address, reg, (uint8_t *)buf, len - 1)) {
			k_mutex_unlock(&this->mutex_);
			return -1;
		}
		k_mutex_unlock(&this->mutex_);

		return 0;
	}

	int readDPS1200(uint8_t reg, uint8_t* data, uint32_t count) {
		uint8_t cs = reg + (this->address_ << 1);
		uint8_t regCS = ((0xff - cs) + 1) & 0xff;

		uint8_t writeInts[] = { reg, regCS };
		return this->readVar(this->address_, writeInts, 2, data, count);
	}

	int readDPS1200Register(uint8_t reg, int *value) {
		uint8_t data[3];
		int ret = this->readDPS1200(reg<<1, data, 3);	 // if low bit set returns zeros (so use even # cmds)
		if(ret < 0) {
			return -1;
		}

		int replyCS = 0;
		for(int i=0; i < sizeof(data); i++) {
			replyCS+=data[i];
		}

		replyCS=((0xff-replyCS)+1)&0xff;	//check reply checksum (not really reqd)
		if(replyCS!=0) {
			printf("Read error");
			return -2;
		}
		*value=data[0] | data[1]<<8;
		return 0;

	}

	int writeDPS1200(uint8_t reg, int value) {
		uint8_t valLSB = value&0xff;
		uint8_t valMSB=value>>8;
		uint8_t cs=(this->address_<<1)+reg+valLSB+valMSB;
		uint8_t regCS=((0xff-cs)+1)&0xff;
		uint8_t writeInts[] = {reg,valLSB,valMSB,regCS};
		return this->writeVar(this->address_, writeInts, 4);
	}

	int forceFanRPM(int rpm) {
		this->writeDPS1200(0x40,rpm);
		return 0;
	}

 private:
	const struct device *i2cdev_;
	int i2cbus_;
	int address_;
	int EEaddress_;
	int numReg_;
	uint16_t* lastReg_;
	uint16_t* minReg_;
	uint16_t* maxReg_;
	struct k_mutex mutex_;
};

static PowerSupply ps=PowerSupply(0, 7);

static int bl_init()
{
	uint32_t period = PWM_USEC(10);
	int ret;

	printk("bl_init\n");
	printk("PWM-based backlight\n");

	if (!device_is_ready(pwm_led1.dev)) {
		printk("Error: PWM device %s is not ready\n",
					 pwm_led1.dev->name);
		return -1;
	}

	ret = pwm_set_dt(&pwm_led1, period, period / 2);
	if (ret) {
		printk("Error %d: failed to set pulse width\n", ret);
		return -3;
	}

	return 0;
}

static int set_backlight(uint8_t brightness) {
	uint32_t period = PWM_USEC(100);
	int ret;

	if (!device_is_ready(pwm_led1.dev)) {
		printk("Error: PWM device %s is not ready\n",
					 pwm_led1.dev->name);
		return -1;
	}

	ret = pwm_set_dt(&pwm_led1, period, period * brightness / 255);
	if (ret) {
		printk("Error %d: failed to set pulse width\n", ret);
		return -2;
	}

	return 0;
}

/* size of stack area used by each thread */
#define STACKSIZE 1024
static K_THREAD_STACK_DEFINE(psu_mon_stack, STACKSIZE);
static struct k_thread psu_mon_thread;

static K_THREAD_STACK_DEFINE(led_task_stack, STACKSIZE);
static struct k_thread led_thread;

static K_THREAD_STACK_DEFINE(pwm_led_stack, STACKSIZE);
static struct k_thread pwm_led_thread;

static void led_entry(void *p1, void *p2, void *p3)
{
	int ret;

	if (!gpio_is_ready_dt(&led)) {
		return;
	}

	ret = gpio_pin_configure_dt(&led, GPIO_OUTPUT_ACTIVE);
	if (ret < 0) {
		return;
	}

	while (1) {
		ret = gpio_pin_toggle_dt(&led);
		if (ret < 0) {
			return ;
		}
		k_msleep(SLEEP_TIME_MS);
	}
}

struct electricity_msg {
  float volts;
  float amps;
  float watts;
  float energy;
};

ZBUS_CHAN_DECLARE(electricity_chan);
ZBUS_OBS_DECLARE(electricity_sub);

ZBUS_CHAN_DEFINE(electricity_chan, struct electricity_msg, NULL, NULL, ZBUS_OBSERVERS_EMPTY,
		 ZBUS_MSG_INIT(0));
#define CONFIG_ELECTRICITY_MSG_SUB_QUEUE_SIZE 4
ZBUS_SUBSCRIBER_DEFINE(electricity_sub, CONFIG_ELECTRICITY_MSG_SUB_QUEUE_SIZE);

static void psu_mon(void *p1, void *p2, void *p3)
{

	// ps.readEEPROM();
	float Gain=1.14;
	uint32_t start_time_ms = k_uptime_get();
  float volts = 0;
  float amps = 0;
  float watts = 0;
  float energy = 0;

	while(1) {
		int val;
		int ret;

		ret=ps.readDPS1200Register(7, &val);
		if(!ret) {
			volts = val;
			volts = volts*Gain/253.9;
		}
		ret=ps.readDPS1200Register(8, &val);
		if(!ret) {
			amps = val;
			amps = amps/64.0;
		}

		ret=ps.readDPS1200Register(9, &val);
		if(!ret) {
			watts = val;
		}
		uint32_t end_time_ms = k_uptime_get();
		uint32_t elapsed_time = end_time_ms - start_time_ms;
		start_time_ms = end_time_ms;

		float power = volts * amps;
		energy += power * elapsed_time / 1000.0 / 3600;

    struct electricity_msg msg;
    msg.volts = volts;
    msg.amps = amps;
    msg.watts = watts;
    msg.energy = energy;

		ret = zbus_chan_pub(&electricity_chan, &msg, K_NO_WAIT);
		if (ret) {
			LOG_ERR("Failed to publish button msg, ret: %d", ret);
		}
		k_sleep(K_MSEC(500));
	}
}

#define max(a,b) ((a) >= (b) ? (a) : (b))

static int format_val(float num, char *buf) {
	if(num <= 0) {
		sprintf(buf, "%s", "00.00");
	} else if(0 < num && num < 1) {
		sprintf(buf, "%.3f", num);
	} else {
		sprintf(buf, "%.*f", max(0, 3 - (int)(floor(log10(abs(num))))), num);
	}

	return 0;
}

static const struct pwm_dt_spec red_pwm_led = PWM_DT_SPEC_GET(DT_ALIAS(red_pwm_led));
static const struct pwm_dt_spec green_pwm_led = PWM_DT_SPEC_GET(DT_ALIAS(green_pwm_led));
static const struct pwm_dt_spec blue_pwm_led = PWM_DT_SPEC_GET(DT_ALIAS(blue_pwm_led));

#define STEP_SIZE PWM_USEC(2000)

int pwm_rgb_led_init(void)
{
	uint32_t pulse_red = PWM_MSEC(20), pulse_green = PWM_MSEC(20), pulse_blue = PWM_MSEC(20); /* pulse widths */
	int ret;

	printk("PWM-based RGB LED control\n");

	if (!device_is_ready(red_pwm_led.dev) ||
	    !device_is_ready(green_pwm_led.dev) ||
	    !device_is_ready(blue_pwm_led.dev)) {
		printk("Error: one or more PWM devices not ready\n");
		return 0;
	}

  ret = pwm_set_pulse_dt(&red_pwm_led, pulse_red);
  if (ret != 0) {
    printk("Error %d: red write failed\n", ret);
    return 0;
  }

  ret = pwm_set_pulse_dt(&green_pwm_led, pulse_green);
  if (ret != 0) {
    printk("Error %d: green write failed\n", ret);
    return 0;
  }
  ret = pwm_set_pulse_dt(&blue_pwm_led, pulse_blue);
  if (ret != 0) {
    printk("Error %d: blue write failed\n", ret);
    return 0;
  }
	return 0;
}

static int pwm_led_init()
{
	uint32_t period = PWM_SEC(500);
	int ret;

	printk("PWM-based blinky\n");

	if (!device_is_ready(pwm_led0.dev)) {
		printk("Error: PWM device %s is not ready\n",
					 pwm_led0.dev->name);
		return -1;
	}

	ret = pwm_set_dt(&pwm_led0, period, period / 2U);
	if (ret) {
		printk("Error %d: failed to set pulse width\n", ret);
		return -2;
	}
	return 0;
}

/* Handle button activity */
static void button_msg_sub_thread(void)
{
	int ret;
	const struct zbus_channel *chan;

	while (1) {
		ret = zbus_sub_wait(&button_sub, &chan, K_FOREVER);

		struct button_msg msg;

		ret = zbus_chan_read(chan, &msg, K_MSEC(100));

		LOG_DBG("Got btn evt from queue - id = %d, action = %d", msg.button_pin,
			msg.button_action);

		if (msg.button_action != BUTTON_PRESS) {
			LOG_WRN("Unhandled button action");
			return;
		}

		switch (msg.button_pin) {
		case BUTTON_A:
      fanRPM += 1000;
      ps.forceFanRPM(fanRPM);
			break;
		case BUTTON_B:
      fanRPM -= 1000;
      ps.forceFanRPM(fanRPM);
			break;
		case BUTTON_X:
      brightness += 2;
      set_backlight(brightness);
			break;
		case BUTTON_Y:
      brightness -= 2;
      set_backlight(brightness);
			break;
		default:
			printf("Unexpected/unhandled button id: %d\n", msg.button_pin);
		}
	}
}


int main(void)
{
	int ret;
	const struct device *display_dev;

	display_dev = DEVICE_DT_GET(DT_CHOSEN(zephyr_display));
	if (!device_is_ready(display_dev)) {
		LOG_ERR("Device not ready, aborting test");
		return -1;
	}

  pwm_rgb_led_init();
	// pwm_led_init();
	bl_init();
	ui_init();
	lv_task_handler();
	display_blanking_off(display_dev);


  ret = zbus_chan_add_obs(&button_chan, &button_sub, K_MSEC(200));
  ret = zbus_chan_add_obs(&electricity_chan, &electricity_sub, K_MSEC(200));

	k_thread_create(&led_thread, led_task_stack, STACKSIZE, led_entry, NULL, NULL,
									NULL, K_PRIO_COOP(10), 0, K_NO_WAIT);
	// k_thread_create(&psu_mon_thread, psu_mon_stack, STACKSIZE, psu_mon, NULL, NULL,
	// 								NULL, K_PRIO_PREEMPT(6), 0, K_NO_WAIT);
	k_thread_create(&psu_mon_thread, psu_mon_stack, STACKSIZE, psu_mon, NULL, NULL,
									NULL, K_PRIO_PREEMPT(0), 0, K_MSEC(1));

  button_handler_init();
	button_msg_sub_thread_id =
		k_thread_create(&button_msg_sub_thread_data, button_msg_sub_thread_stack,
				CONFIG_BUTTON_MSG_SUB_STACK_SIZE,
				(k_thread_entry_t)button_msg_sub_thread, NULL, NULL, NULL,
				K_PRIO_PREEMPT(CONFIG_BUTTON_MSG_SUB_THREAD_PRIO), 0, K_NO_WAIT);
	ret = k_thread_name_set(button_msg_sub_thread_id, "BUTTON_MSG_SUB");

	char buf[32];
	const struct zbus_channel *chan;
  float volts = 0;
  float amps = 0;
  float watts = 0;
  float energy = 0;

	while (1) {
		ret = zbus_sub_wait(&electricity_sub, &chan, K_FOREVER);
		struct electricity_msg msg;
		ret = zbus_chan_read(chan, &msg, K_MSEC(100));
    if (ret == 0) {
      volts = msg.volts;
      amps = msg.amps;
      watts = msg.watts;
      energy = msg.energy;

      format_val(volts, buf);
      lv_label_set_text(ui_LabelVoltage, buf);

      format_val(amps, buf);
      lv_label_set_text(ui_LabelCurrent, buf);

      format_val(watts, buf);
      lv_label_set_text(ui_LabelPower, buf);

      if(energy >= 1000) {
        format_val(energy/1000, buf);
        lv_label_set_text(ui_LabelEnergy, buf);
        lv_label_set_text(ui_Label8, "kWh");
      } else {
        format_val(energy, buf);
        lv_label_set_text(ui_LabelEnergy, buf);
        lv_label_set_text(ui_Label8, "Wh");
      }
      lv_task_handler();
      // k_sleep(K_MSEC(100));
    }
	}

}
```

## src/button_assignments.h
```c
/*
 * Copyright (c) 2022 Nordic Semiconductor ASA
 *
 * SPDX-License-Identifier: LicenseRef-Nordic-5-Clause
 */

/** @file
 *  @brief Button assignments
 *
 * Button mappings are listed here.
 *
 */

#ifndef _BUTTON_ASSIGNMENTS_H_
#define _BUTTON_ASSIGNMENTS_H_

#include <zephyr/drivers/gpio.h>

/** @brief List of buttons and associated metadata
 */
enum button_pin_names {
	BUTTON_A = DT_GPIO_PIN(DT_ALIAS(sw0), gpios),
	BUTTON_B = DT_GPIO_PIN(DT_ALIAS(sw1), gpios),
	BUTTON_X = DT_GPIO_PIN(DT_ALIAS(sw2), gpios),
	BUTTON_Y = DT_GPIO_PIN(DT_ALIAS(sw3), gpios),
};

#endif /* _BUTTON_ASSIGNMENTS_H_ */
```

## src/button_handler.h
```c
/*
 * Copyright (c) 2022 Nordic Semiconductor ASA
 *
 * SPDX-License-Identifier: LicenseRef-Nordic-5-Clause
 */

#ifndef _BUTTON_HANDLER_H_
#define _BUTTON_HANDLER_H_

#include <stdint.h>
#include <zephyr/drivers/gpio.h>

#define CONFIG_MODULE_BUTTON_HANDLER_LOG_LEVEL 3
#define CONFIG_BUTTON_PUBLISH_STACK_SIZE 1024
#define CONFIG_BUTTON_PUBLISH_THREAD_PRIO 5
#define CONFIG_BUTTON_DEBOUNCE_MS   10

enum button_action {
        BUTTON_PRESS,
        BUTTON_ACTION_NUM,
};

struct button_msg {
        uint32_t button_pin;
        enum button_action button_action;
};

struct btn_config {
	const char *btn_name;
	uint8_t btn_pin;
	uint32_t btn_cfg_mask;
};

#ifdef __cplusplus
extern "C" {
#endif

/** @brief Initialize button handler, with buttons defined in button_assignments.h.
 *
 * @note This function may only be called once - there is no reinitialize.
 *
 * @return 0 if successful.
 * @return -ENODEV	gpio driver not found
 */
int button_handler_init(void);

/** @brief Check button state.
 *
 * @param[in] button_pin Button pin
 * @param[out] button_pressed Button state. True if currently pressed, false otherwise
 *
 * @return 0 if success, an error code otherwise.
 */
int button_pressed(gpio_pin_t button_pin, bool *button_pressed);

#ifdef __cplusplus
} /*extern "C"*/
#endif

#endif /* _BUTTON_HANDLER_H_ */
```

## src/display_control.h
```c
#ifndef __DISPLAY_CONTROL_H_
#define __DISPLAY_CONTROL_H_
#include <inttypes.h>
#include <stdbool.h>

#ifdef __cplusplus
extern "C" {
#endif

void display_control_init(void);
void display_control_power_on(bool on);
void display_control_set_brightness(uint8_t percent);
void lvgl_update(void);

#ifdef __cplusplus
} /*extern "C"*/
#endif

#endif
```

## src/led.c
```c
#include <zephyr/kernel.h>
#include <zephyr/device.h>
#include <zephyr/devicetree.h>
#include <zephyr/drivers/gpio.h>
#include <zephyr/init.h>
#include <zephyr/logging/log.h>

LOG_MODULE_REGISTER(led_app, LOG_LEVEL_DBG);

#define SENSOR_REFRESH_INTERVAL_MS  500
#define LED0_NODE DT_ALIAS(led0)
static const struct gpio_dt_spec led_spec = GPIO_DT_SPEC_GET(LED0_NODE, gpios);

void led_blink_timer_cb(struct k_timer *timer_id);
K_TIMER_DEFINE(led_blink_timer, led_blink_timer_cb, NULL);

static void led_app_start()
{
        int ret;

	if (!gpio_is_ready_dt(&led_spec)) {
		return;
	}

	ret = gpio_pin_configure_dt(&led_spec, GPIO_OUTPUT_ACTIVE);
	if (ret < 0) {
		return;
	}

      gpio_pin_set_dt(&led_spec, 0);
      // Start blinking the led
      k_timer_stop(&led_blink_timer);
      k_timer_start(&led_blink_timer, K_MSEC(1000), K_MSEC(1000));

}

static void led_app_stop(void)
{
      k_timer_stop(&led_blink_timer);
}

void led_blink_timer_cb(struct k_timer *timer_id){
        gpio_pin_toggle_dt(&led_spec);
}

static int led_app_add(const struct device *arg)
{
        led_app_start();
        return 0;
}


SYS_INIT(led_app_add, APPLICATION, CONFIG_APPLICATION_INIT_PRIORITY);
```

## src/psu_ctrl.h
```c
#ifndef PSU_CTRL_H
#define PSU_CTRL_H

#include <zephyr/device.h>
#include <zephyr/drivers/i2c.h>
#include <zephyr/logging/log.h>
#include <zephyr/zbus/zbus.h>
#include <stdio.h>
#include <string.h>
#include <stdlib.h>
#include <math.h>
#include <lvgl.h>

#ifdef __cplusplus
extern "C" {
#endif

int psuctrl_init(void);
int PSUCtrl_forceFanRPM(int rpm);
void PSUCtrl_ONOFF(lv_event_t * e);
void PSUCtrl_CVCC(lv_event_t * e);

#ifdef __cplusplus
} /*extern "C"*/
#endif

#endif
```

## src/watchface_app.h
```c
#pragma once

#include <lvgl.h>

#ifdef __cplusplus
extern "C" {
#endif

void watchface_app_start(lv_group_t *group);
void watchface_app_stop(void);

#ifdef __cplusplus
} /*extern "C"*/
#endif
```
